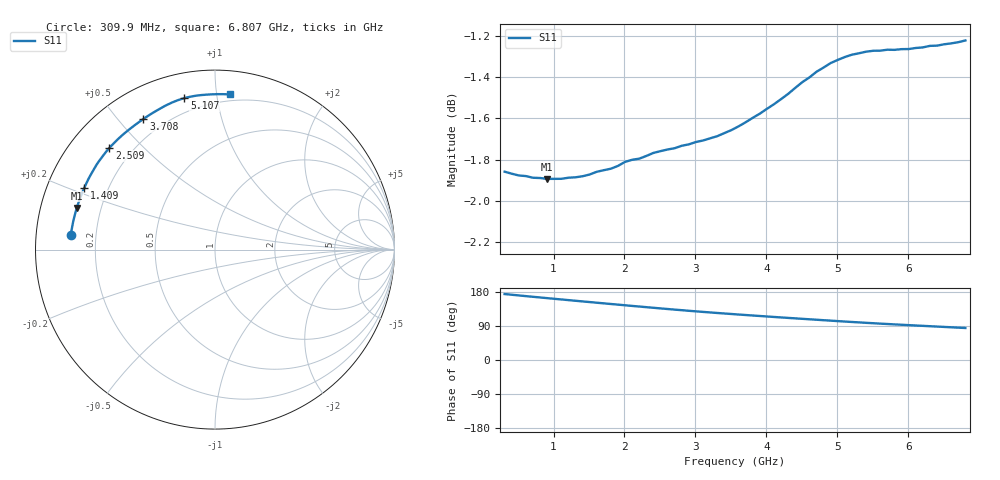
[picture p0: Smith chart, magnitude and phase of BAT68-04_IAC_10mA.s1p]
! Infineon Technologies  Discrete & RF Semiconductors
! BAT68-04
! IAC = 10 mA
! One-Port S-Parameters
# Hz  S  MA  R  50
!f  S11
!Hz  Mag  Ang
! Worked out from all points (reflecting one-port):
!   66 points, 309.9 MHz to 6.807 GHz, reference 50 ohm
!   lowest |S11| = -1.9 dB at 909.5 MHz (marker M1), VSWR 9.21, Z = 5.55 + j7.27 ohm
!   phase of S11 starts at 174 deg and turns -90 deg over the sweep
!   S11 on the Smith chart (normalised r, x): 309.9 MHz: 0.11, +0.05; 1.409 GHz: 0.11, +0.22; 2.509 GHz: 0.12, +0.40; 3.708 GHz: 0.13, +0.59; 5.107 GHz: 0.12, +0.81; 6.807 GHz: 0.15, +1.09
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3.0985e8  0.8074 174.0
6.097e8  0.8054 168.6
9.0955e8  0.8041 163.3
1.0095e9  0.8041 161.5
1.2094e9  0.8046 158.0
1.4093e9  0.8053 154.6
1.6092e9  0.8073 151.2
2.009e9  0.8118 144.4
2.2089e9  0.8133 141.1
2.4088e9  0.8159 137.8
2.50875e9  0.8167 136.1
2.8086e9  0.8192 131.4
3.10845e9  0.8216 126.9
3.4083e9  0.825 122.7
3.6082e9  0.8281 120.0
3.70815e9  0.83 118.7
4.008e9  0.8362 114.8
4.4078e9  0.8461 109.9
4.70765e9  0.8538 106.2
4.90755e9  0.858 103.9
5.10745e9  0.8609 101.5
5.2074e9  0.862 100.3
5.4073e9  0.8634 98.1
5.50725e9  0.8639 97.1
5.6072e9  0.8639 96.0
6.007e9  0.8647 92.0
6.30685e9  0.8662 89.1
6.8066e9  0.8689 84.4
